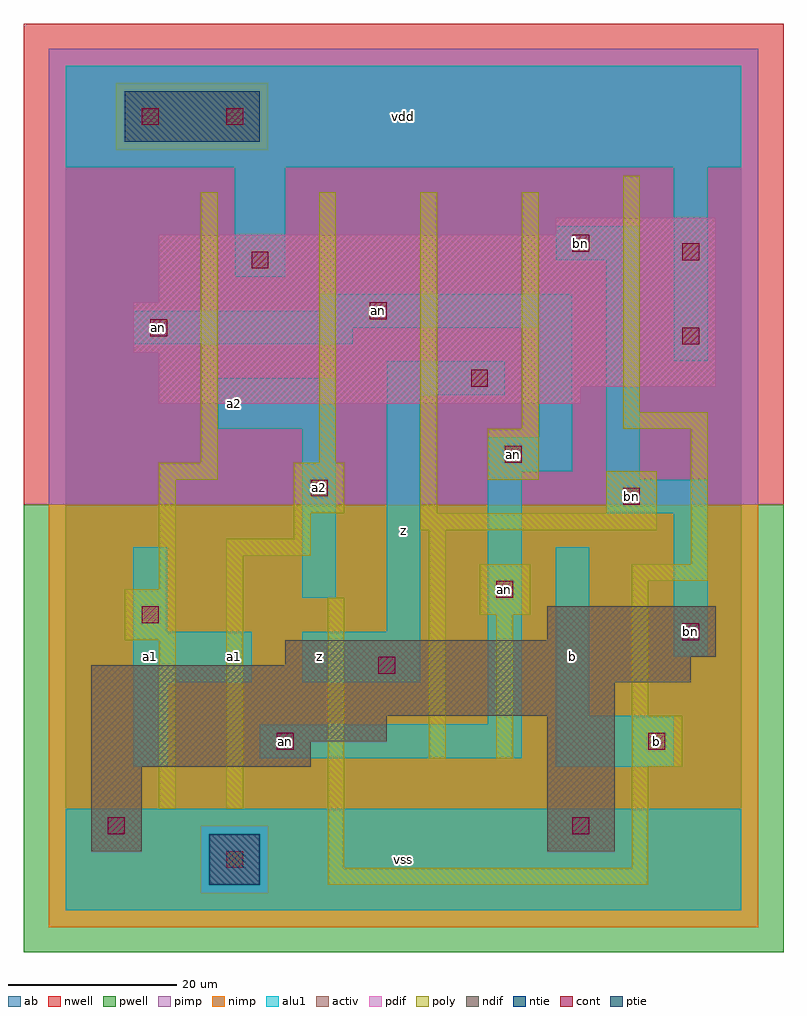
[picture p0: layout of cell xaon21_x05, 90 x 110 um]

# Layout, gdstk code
import gdstk
lib = gdstk.Library(unit=1e-6, precision=1e-09)
def R(c, l, rs):  # rectangles x0, y0, x1, y1
    for r in rs: c.add(gdstk.rectangle(r[:2], r[2:], *l))
ndif = (3, 0)
pdif = (4, 0)
ntie = (5, 0)
ptie = (6, 0)
cont = (25, 0)
pwell = (41, 0)
nwell = (42, 0)
activ = (43, 0)
pimp = (44, 0)
nimp = (45, 0)
poly = (46, 0)
alu1 = (49, 0)
ab = (63, 0)

xaon21_x05 = lib.new_cell('xaon21_x05')
R(xaon21_x05, ndif, [(3,7,9,17), (57,7,65,23), (3,17,29,20), (3,20,38,23), (3,23,65,27), (3,27,74,29), (26,29,74,30), (26,30,77,32), (57,32,77,36)])
R(xaon21_x05, pdif, [(11,60,61,62), (11,62,77,66), (8,66,77,72), (11,72,77,80), (58,80,77,82)])
R(xaon21_x05, ntie, [(7,91,23,97)])
R(xaon21_x05, ptie, [(17,3,23,9)])
R(xaon21_x05, cont, [(19,5,21,7), (5,9,7,11), (60,9,62,11), (25,19,27,21), (69,19,71,21), (37,28,39,30), (73,32,75,34), (9,34,11,36), (51,37,53,39), (66,48,68,50), (29,49,31,51), (52,53,54,55), (48,62,50,64), (73,67,75,69), (10,68,12,70), (36,70,38,72), (22,76,24,78), (73,77,75,79), (60,78,62,80), (9,93,11,95), (19,93,21,95)])
R(xaon21_x05, pwell, [(-5,-5,85,48)])
R(xaon21_x05, nwell, [(-5,48,85,105)])
R(xaon21_x05, activ, [(17,3,23,9), (3,7,9,17), (57,7,65,23), (3,17,29,20), (3,20,38,23), (3,23,65,27), (3,27,74,29), (26,29,74,30), (26,30,77,32), (57,32,77,36), (11,60,61,62), (11,62,77,66), (8,66,77,72), (11,72,77,80), (58,80,77,82), (7,91,23,97)])
R(xaon21_x05, pimp, [(16,2,24,10), (-2,48,82,90), (-2,90,6,98), (24,90,82,98), (-2,98,82,102)])
R(xaon21_x05, nimp, [(-2,-2,82,2), (-2,2,16,10), (24,2,82,10), (-2,10,82,48), (6,90,24,98)])
R(xaon21_x05, poly, [(31,3,69,5), (31,5,33,37), (67,5,69,17), (11,12,13,32), (19,12,21,42), (67,17,73,23), (43,18,45,45), (51,18,53,35), (67,23,69,39), (7,32,13,38), (49,35,55,41), (11,38,13,51), (67,39,76,41), (74,41,76,57), (19,42,29,44), (27,44,29,47), (42,45,70,47), (27,47,33,53), (42,47,44,85), (64,47,70,52), (11,51,18,53), (50,51,56,57), (16,53,18,85), (30,53,32,85), (54,57,56,85), (66,57,76,59), (66,59,68,87)])
R(xaon21_x05, alu1, [(0,0,80,12), (8,17,12,27), (58,17,72,23), (23,18,54,22), (50,22,54,52), (58,23,62,43), (8,27,22,33), (28,27,42,33), (72,30,76,47), (8,33,12,43), (38,33,42,61), (28,37,32,57), (64,47,76,51), (64,51,68,77), (50,52,60,56), (56,56,60,69), (18,57,32,63), (38,61,52,65), (72,65,76,88), (8,67,34,69), (8,69,60,71), (30,71,60,73), (20,75,26,88), (58,77,68,81), (0,88,80,100)])
R(xaon21_x05, ab, [(0,0,80,100)])
xaon21_x05.add(gdstk.Label('an', (11,69), layer=49, texttype=0))
xaon21_x05.add(gdstk.Label('an', (26,20), layer=49, texttype=0))
xaon21_x05.add(gdstk.Label('an', (37,71), layer=49, texttype=0))
xaon21_x05.add(gdstk.Label('an', (52,38), layer=49, texttype=0))
xaon21_x05.add(gdstk.Label('an', (53,54), layer=49, texttype=0))
xaon21_x05.add(gdstk.Label('bn', (74,33), layer=49, texttype=0))
xaon21_x05.add(gdstk.Label('bn', (67,49), layer=49, texttype=0))
xaon21_x05.add(gdstk.Label('bn', (61,79), layer=49, texttype=0))
xaon21_x05.add(gdstk.Label('a1', (10,30), layer=49, texttype=0))
xaon21_x05.add(gdstk.Label('a1', (20,30), layer=49, texttype=0))
xaon21_x05.add(gdstk.Label('z', (30,30), layer=49, texttype=0))
xaon21_x05.add(gdstk.Label('a2', (30,50), layer=49, texttype=0))
xaon21_x05.add(gdstk.Label('a2', (20,60), layer=49, texttype=0))
xaon21_x05.add(gdstk.Label('vss', (40,6), layer=49, texttype=0))
xaon21_x05.add(gdstk.Label('z', (40,45), layer=49, texttype=0))
xaon21_x05.add(gdstk.Label('vdd', (40,94), layer=49, texttype=0))
xaon21_x05.add(gdstk.Label('b', (70,20), layer=49, texttype=0))
xaon21_x05.add(gdstk.Label('b', (60,30), layer=49, texttype=0))

lib.write_gds('xaon21_x05.gds')
